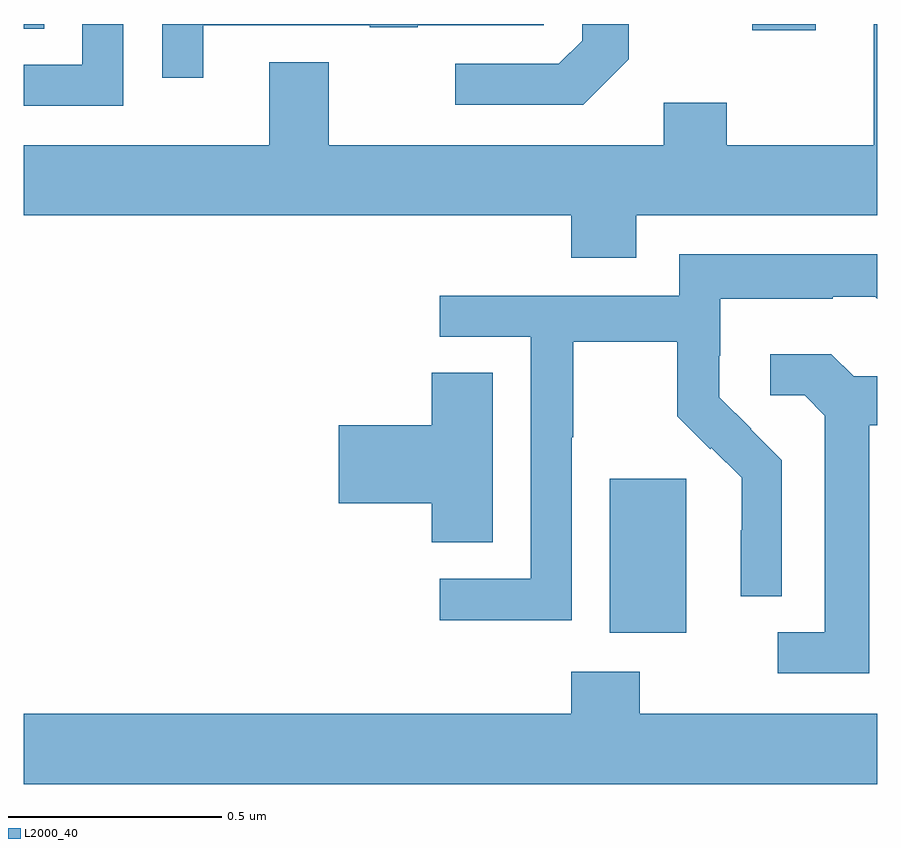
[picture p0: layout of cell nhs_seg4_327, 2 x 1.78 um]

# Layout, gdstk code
import gdstk
lib = gdstk.Library(unit=1e-6, precision=1e-09)
def R(c, l, rs):  # rectangles x0, y0, x1, y1
    for r in rs: c.add(gdstk.rectangle(r[:2], r[2:], *l))
def P(c, l, *ps):  # polygons
    for p in ps: c.add(gdstk.Polygon(p, *l))
L2000_40 = (2000, 40)

nhs_seg4_327 = lib.new_cell('nhs_seg4_327')
R(nhs_seg4_327, L2000_40, [(115.373,830.474,115.552,830.835), (115.707,831.885,115.855,831.9), (114,831.889,114.048,831.9)])
P(nhs_seg4_327, L2000_40, [(114.421,831.897),(114.811,831.897),(114.811,831.892),(114.923,831.892),(114.923,831.897),(115.218,831.897),(115.218,831.9),(114.325,831.9),(114.325,831.774),(114.421,831.774)],
  [(115.417,831.817),(115.417,831.9),(115.308,831.9),(115.308,831.861),(115.254,831.807),(115.011,831.807),(115.011,831.711),(115.311,831.711)],
  [(114.234,831.9),(114.138,831.9),(114.138,831.804),(114,831.804),(114,831.708),(114.234,831.708)],
  [(115.435,831.452),(116,831.452),(116,831.9),(115.991,831.9),(115.991,831.616),(115.647,831.616),(115.647,831.715),(115.499,831.715),(115.499,831.616),(114.715,831.616),(114.715,831.811),(114.575,831.811),(114.575,831.616),(114,831.616),(114,831.452),(115.283,831.452),(115.283,831.353),(115.435,831.353)],
  [(115.284,830.932),(115.287,830.932),(115.287,831.156),(115.531,831.156),(115.531,830.981),(115.608,830.904),(115.611,830.907),(115.682,830.837),(115.682,830.714),(115.68,830.714),(115.68,830.56),(115.776,830.56),(115.776,830.878),(115.703,830.951),(115.704,830.952),(115.63,831.026),(115.63,831.123),(115.632,831.123),(115.632,831.257),(115.895,831.257),(115.895,831.261),(115.995,831.261),(116,831.256),(116,831.361),(115.536,831.361),(115.536,831.264),(114.975,831.264),(114.975,831.168),(115.188,831.168),(115.188,830.601),(114.975,830.601),(114.975,830.503),(115.284,830.503)],
  [(115.981,830.96),(116,830.96),(116,831.075),(115.944,831.075),(115.892,831.127),(115.749,831.127),(115.749,831.03),(115.83,831.03),(115.877,830.983),(115.877,830.475),(115.767,830.475),(115.767,830.379),(115.981,830.379)],
  [(115.099,831.083),(114.956,831.083),(114.956,830.96),(114.738,830.96),(114.738,830.777),(114.956,830.777),(114.956,830.686),(115.099,830.686)],
  [(116,830.284),(115.443,830.284),(115.443,830.383),(115.283,830.383),(115.283,830.284),(114,830.284),(114,830.12),(116,830.12)])

lib.write_gds('nhs_seg4_327.gds')
